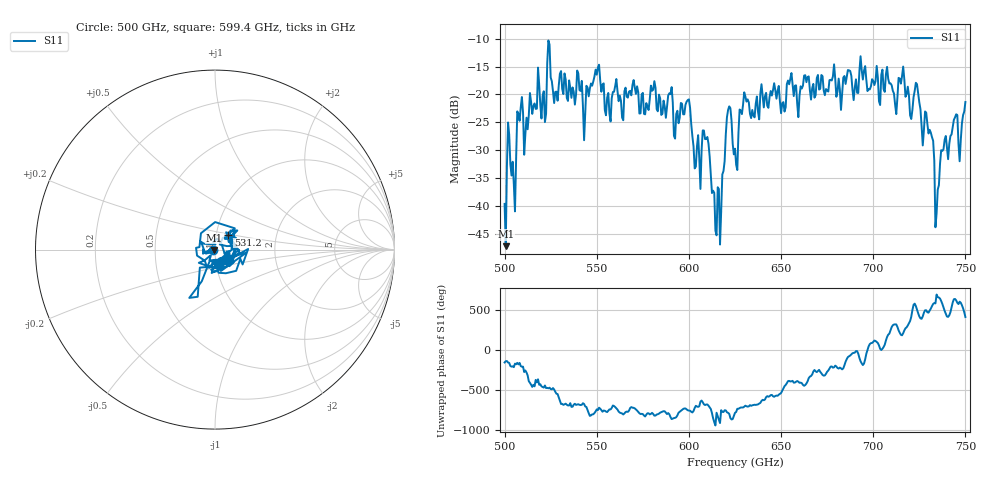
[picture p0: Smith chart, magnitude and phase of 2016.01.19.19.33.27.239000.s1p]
!Created with skrf (http://scikit-rf.org).
# GHz S RI R 50.0
!freq ReS11 ImS11
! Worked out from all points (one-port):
!   401 points, 500 GHz to 750 GHz, reference 50 ohm
!   lowest |S11| = -47.2 dB at 500.6 GHz (marker M1), VSWR 1.01, Z = 49.7 - j0.279 ohm
!   |S11| at or under -10 dB: start of sweep to end of sweep
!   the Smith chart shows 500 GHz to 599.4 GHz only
!   S11 on the Smith chart (normalised r, x): 500 GHz: 0.98, -0.01; 531.2 GHz: 1.14, +0.19; 599.4 GHz: 1.16, -0.11
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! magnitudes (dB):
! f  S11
! 500 GHz  -39.6
! 500.6 GHz  -47.2
! 502.5 GHz  -27.2
! 505 GHz  -36.1
! 508.1 GHz  -24.7
! 521.2 GHz  -19.4
! 524.4 GHz  -11.1
! 527.5 GHz  -19.5
! 531.2 GHz  -19.0
! 543.8 GHz  -23.3
! 550 GHz  -16.5
! 562.5 GHz  -20.2
! 580.6 GHz  -19.1
! 593.8 GHz  -22.9
! 599.4 GHz  -21.0
! 603.1 GHz  -33.3
! 609.4 GHz  -28.0
! 615.6 GHz  -36.6
! 621.2 GHz  -22.8
! 625 GHz  -29.7
! 630.6 GHz  -20.4
! 656.2 GHz  -18.2
! 687.5 GHz  -15.8
! 718.8 GHz  -18.6
! 729.4 GHz  -25.3
! 735 GHz  -37.0
! 738.1 GHz  -29.8
! 750 GHz  -21.3
